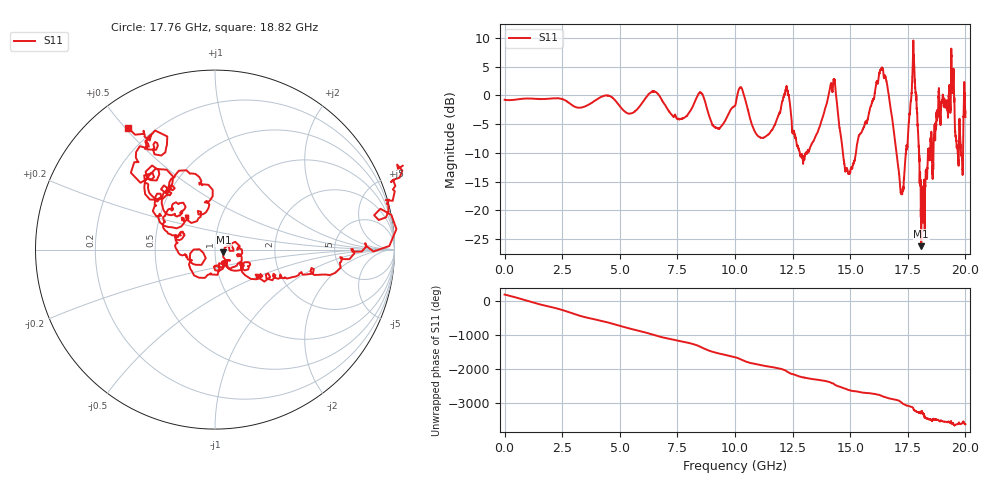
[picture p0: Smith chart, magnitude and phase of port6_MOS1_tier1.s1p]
! Created with skrf 1.8.0 (http://scikit-rf.org).
# GHz S RI R 50.0
!freq ReS11 ImS11
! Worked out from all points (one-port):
!   10001 points, 1 MHz to 20 GHz, reference 50 ohm
!   lowest |S11| = -26.2 dB at 18.08 GHz (marker M1), VSWR 1.10, Z = 54.8 - j1.68 ohm
!   |S11| at or under -10 dB: 14.68 GHz to 15.25 GHz (565.5 MHz wide, 3.78 % of centre); 17.01 GHz to 17.42 GHz (407.8 MHz wide, 2.37 % of centre); 17.99 GHz to 18.37 GHz (384.1 MHz wide, 2.11 % of centre) (the widest 3 of 13)
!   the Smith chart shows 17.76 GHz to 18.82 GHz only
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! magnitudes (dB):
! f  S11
! 1 MHz  -0.8
! 2.501 GHz  -0.7
! 5.001 GHz  -1.9
! 6.491 GHz  0.7
! 7.501 GHz  -4.1
! 8.509 GHz  0.5
! 9.289 GHz  -5.8
! 10 GHz  -1.8
! 10.28 GHz  1.3
! 11.23 GHz  -7.4
! 12.24 GHz  1.5
! 12.5 GHz  -6.6
! 13.03 GHz  -10.5
! 14.25 GHz  1.9
! 14.75 GHz  -11.9
! 15 GHz  -13.4
! 16.34 GHz  4.5
! 16.62 GHz  1.4
! 17.22 GHz  -17.1
! 17.5 GHz  -7.2
! 17.78 GHz  5.0
! 18.08 GHz  -26.2
! 18.16 GHz  -21.0
! 18.92 GHz  -4.8
! 19.43 GHz  0.6
! 19.62 GHz  -8.9
! 19.79 GHz  -8.6
! 20 GHz  -3.8
